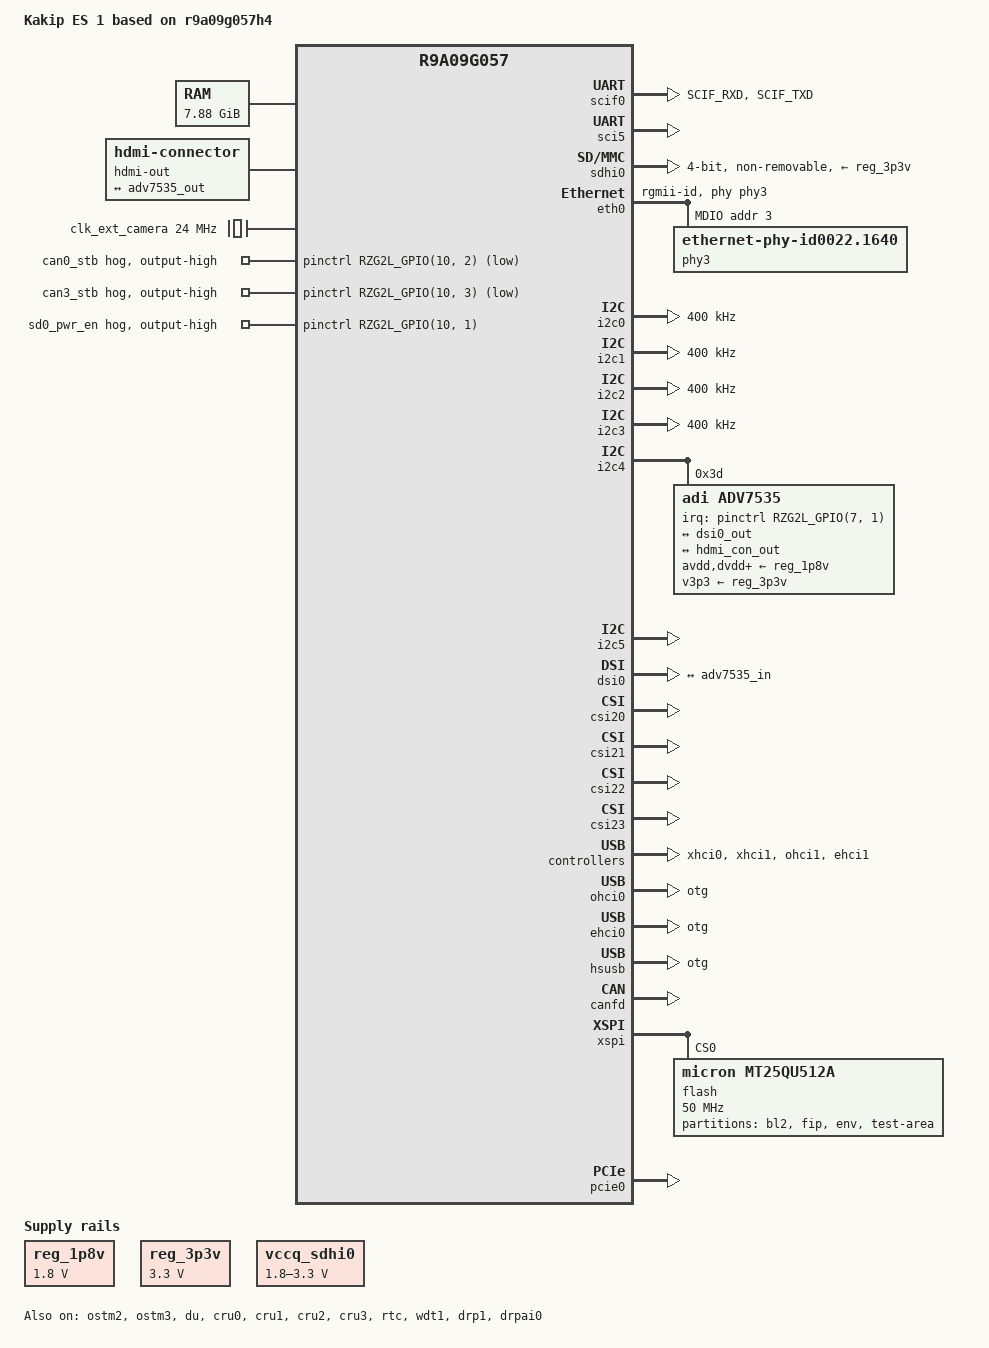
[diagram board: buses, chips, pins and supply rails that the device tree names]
// SPDX-License-Identifier: (GPL-2.0-only OR BSD-2-Clause)
/*
 * Device Tree Source for the Kakip ES 1 board
 *
 * Copyright (C) 2024 AMATAMA Co.
 */

/dts-v1/;
#include "r9a09g057.dtsi"
#include "r9a09g057h4-evk-multi-os.dtsi"
#include <dt-bindings/pinctrl/rzg2l-pinctrl.h>
#include <dt-bindings/gpio/gpio.h>

/ {
	model = "Kakip ES 1 based on r9a09g057h4";
	compatible = "renesas,r9a09g057h4-evk-ver1", "renesas,r9a09g057h4", "renesas,r9a09g057";

	aliases {
		serial0 = &scif0;
		serial2 = &sci5;
		mmc0 = &sdhi0;
		ethernet0 = &eth0;
		ethernet1 = &eth1;
	};

	chosen {
		bootargs = "ignore_loglevel";
		stdout-path = "serial0:115200n8";
	};

	ddr0: memory@48000000 {
		device_type = "memory";
		/* first 128MB is reserved for secure area. */
		reg = <0x0 0x48000000 0x1 0xF8000000>;
	};

	pwm0_gpio: pwm0-gpio {
		compatible = "pwm-gpio";
		gpios = <&pinctrl RZG2L_GPIO(10, 4) GPIO_ACTIVE_HIGH>;
		#pwm-cells = <3>;
		status = "disabled";
	};

	pwm1_gpio: pwm1-gpio {
		compatible = "pwm-gpio";
		gpios = <&pinctrl RZG2L_GPIO(10, 5) GPIO_ACTIVE_HIGH>;
		#pwm-cells = <3>;
		status = "disabled";
	};

	reserved-memory {
		#address-cells = <2>;
		#size-cells = <2>;
		ranges;

		global_cma: linux,cma@58000000 {
			compatible = "shared-dma-pool";
			linux,cma-default;
			reusable;
			reg = <0x0 0x58000000 0x0 0x10000000>;
		};

		mmp_reserved: linux,multimedia {
			compatible = "shared-dma-pool";
			reusable;
			reg = <0x00000000 0x68000000 0x0 0x20000000>;
		};

		isp: ISP@90000000 {
			compatible = "shared-dma-pool";
			reusable;
			reg = <0x0 0x90000000 0x0 0x18000000>;
		};

		image_buf0: image_buf@B0000000 {
			compatible = "shared-dma-pool";
			reusable;
			reg = <0x0 0xB0000000 0x0 0x4000000>;
			label = "image_buf0";
		};

		opencva_reserved: OpenCVA@C0000000 {
			reusable;
			reg = <0x0 0xC0000000 0x0 0x7D00000>;
		};

		drp_codec: DRP-Codec@C7D00000 {
			reusable;
			reg = <0x0 0xC7D00000 0x0 0x300000>;
		};

		drp_reserved: DRP-AI@D0000000 {
			reusable;
			reg = <0x0 0xD0000000 0x0 0x20000000>;
		};
	};

	mmngr {
		compatible = "renesas,mmngr";
		memory-region = <&mmp_reserved>;
	};

	mmngrbuf {
		compatible = "renesas,mmngrbuf";
	};

	vspm_if {
		compatible = "renesas,vspm_if";
	};

	reg_1p8v: regulator0 {
		compatible = "regulator-fixed";

		regulator-name = "fixed-1.8V";
		regulator-min-microvolt = <1800000>;
		regulator-max-microvolt = <1800000>;
		regulator-boot-on;
		regulator-always-on;
	};

	reg_3p3v: regulator1 {
		compatible = "regulator-fixed";

		regulator-name = "fixed-3.3V";
		regulator-min-microvolt = <3300000>;
		regulator-max-microvolt = <3300000>;
		regulator-boot-on;
		regulator-always-on;
	};

	vccq_sdhi0: regulator-vccq-sdhi0 {
		compatible = "regulator-gpio";

		regulator-name = "SDHI0 VccQ";
		regulator-min-microvolt = <1800000>;
		regulator-max-microvolt = <3300000>;

		gpios = <&pinctrl RZG2L_GPIO(10, 0) GPIO_ACTIVE_HIGH>;

		gpios-states = <0>;
		states = <3300000 0 1800000 1>;
	};

	hdmi-out {
		compatible = "hdmi-connector";
		type = "d";

		port {
			hdmi_con_out: endpoint {
				remote-endpoint = <&adv7535_out>;
			};
		};
	};

	clk_ext_camera: clk_ext_camera {
		compatible = "fixed-clock";
		#clock-cells = <0>;
		clock-frequency = <24000000>;
	};

	x1_clk: x1-clock {
		compatible = "fixed-clock";
		#clock-cells = <0>;
		clock-frequency = <24000000>;
	};

    udmabuf@0 {
        compatible = "ikwzm,u-dma-buf";
        device-name = "udmabuf0";
        minor-number = <0>;
        size = <0x4000000>; // 64MiB
        dma-coherent;
        memory-region = <&image_buf0>;
    };
};

&pinctrl {
	gpio-line-names = \
	"", "", "", "","", "", "", "", \
	"", "", "", "","", "", "", "", \
	"", "", "", "","", "", "", "", \
	"", "", "", "","", "", "", "", \
	"", "", "", "","", "", "", "", \
	"", "", "", "","", "", "", "", \
	"", "", "", "","", "", "", "", \
	"", "GPIO4", "GPIO14", "GPIO15","GPIO5", "", "GPIO2", "GPIO3", \
	"", "", "GPIO16", "GPIO17","GPIO0", "GPIO1", "", "", \
	"GPIO10", "GPIO9", "GPIO11", "GPIO8","GPIO7", "GPIO18", "GPIO19", "GPIO21", \
	"", "", "", "","GPIO12", "GPIO13", "GPIO20", "GPIO6", \
	"GPIO22", "GPIO24", "GPIO25", "GPIO26","GPIO27", "GPIO23", "", "";

	can0_pins: can0 {
		pinmux = <RZG2L_PORT_PINMUX(8, 0, 5)>, /* TX */
			 <RZG2L_PORT_PINMUX(8, 1, 5)>; /* RX */
	};

	can0_stb {
		gpio-hog;
		gpios = <RZG2L_GPIO(10, 2) GPIO_ACTIVE_LOW>;
		output-high;
		line-name = "can0_stb";
	};

	can3_pins: can3 {
		pinmux = <RZG2L_PORT_PINMUX(8, 6, 5)>, /* TX */
			 <RZG2L_PORT_PINMUX(8, 7, 5)>; /* RX */
	};

	can3_stb {
		gpio-hog;
		gpios = <RZG2L_GPIO(10, 3) GPIO_ACTIVE_LOW>;
		output-high;
		line-name = "can3_stb";
	};

	scif0_pins: scif0 {
		pins =  "SCIF_RXD", "SCIF_TXD";
	};

	sci5_pins: sci5 {
		pinmux = <RZG2L_PORT_PINMUX(7, 2, 1)>, /* SCI5_TXD_MOSI_SDA */
			 <RZG2L_PORT_PINMUX(7, 3, 1)>; /* SCI5_RXD_MISO_SCL */
		bias-pull-up;
	};

	sd0_pwr_en {
		gpio-hog;
		gpios = <RZG2L_GPIO(10, 1) GPIO_ACTIVE_HIGH>;
		output-high;
		line-name = "sd0_pwr_en";
	};

	i2c0_pins: i2c0 {
		pinmux = <RZG2L_PORT_PINMUX(3, 0, 1)>, /* I2C0_SDA */
			 <RZG2L_PORT_PINMUX(3, 1, 1)>; /* I2C0_SCL */
	};

	i2c1_pins: i2c1 {
		pinmux = <RZG2L_PORT_PINMUX(3, 2, 1)>, /* I2C1_SDA */
			 <RZG2L_PORT_PINMUX(3, 3, 1)>; /* I2C1_SCL */
	};

	i2c2_pins: i2c2 {
		pinmux = <RZG2L_PORT_PINMUX(3, 4, 1)>, /* I2C2_SDA */
			 <RZG2L_PORT_PINMUX(3, 5, 1)>; /* I2C2_SCL */
	};

	i2c3_pins: i2c3 {
		pinmux = <RZG2L_PORT_PINMUX(3, 6, 1)>, /* I2C3_SDA */
			 <RZG2L_PORT_PINMUX(3, 7, 1)>; /* I2C3_SCL */
	};

	i2c4_pins: i2c4 {
		pinmux = <RZG2L_PORT_PINMUX(6, 0, 4)>, /* I2C4_SDA */
			 <RZG2L_PORT_PINMUX(6, 1, 4)>; /* I2C4_SCL */
	};

	i2c5_pins: i2c5 {
		pinmux = <RZG2L_PORT_PINMUX(6, 2, 4)>, /* I2C5_SDA */
			 <RZG2L_PORT_PINMUX(6, 3, 4)>; /* I2C5_SCL */
	};

	i2c6_pins: i2c6 {
	};

	i2c7_pins: i2c7 {
	};

	i2c8_pins: i2c8 {
	};

	usb30_pins: usb30 {
		pinmux = <RZG2L_PORT_PINMUX(6, 4, 15)>; /* VBUS */
	};

	usb31_pins: usb31 {
		pinmux = <RZG2L_PORT_PINMUX(6, 6, 15)>; /* VBUS */
	};

	usb20_pins: usb20 {
	};

	usb21_pins: usb21 {
	};
};

&extal_clk {
	clock-frequency = <24000000>;
};

&ostm2 {
	status = "okay";
};

&ostm3 {
	status = "okay";
};

&scif0 {
	pinctrl-0 = <&scif0_pins>;
	pinctrl-names = "default";

	status = "okay";
};

&sci5 {
	pinctrl-0 = <&sci5_pins>;
	pinctrl-names = "default";
	status = "okay";
};

&sdhi0 {
	vmmc-supply = <&reg_3p3v>;
	vqmmc-supply = <&vccq_sdhi0>;
	non-removable;
	bus-width = <4>;
	status = "okay";
};

&eth0 {
	phy-handle = <&phy3>;
	phy-mode = "rgmii-id";
	status = "okay";

	mdio {
		#address-cells = <1>;
		#size-cells = <0>;
		phy3: ethernet-phy@3 {
			compatible = "ethernet-phy-id0022.1640",
				     "ethernet-phy-ieee802.3-c22";
			reg = <3>;
			rxc-skew-psec = <1400>;
			txc-skew-psec = <1400>;
			rxdv-skew-psec = <0>;
			txdv-skew-psec = <0>;
			rxd0-skew-psec = <0>;
			rxd1-skew-psec = <0>;
			rxd2-skew-psec = <0>;
			rxd3-skew-psec = <0>;
			txd0-skew-psec = <0>;
			txd1-skew-psec = <0>;
			txd2-skew-psec = <0>;
			txd3-skew-psec = <0>;
		};
	};
};

&eth1 {
	phy-handle = <&phy1>;
	phy-mode = "rgmii-id";
	status = "disabled";

	mdio {
		#address-cells = <1>;
		#size-cells = <0>;
		phy1: ethernet-phy@0 {
			compatible = "ethernet-phy-id0022.1640",
				     "ethernet-phy-ieee802.3-c22";
			reg = <0>;
			rxc-skew-psec = <1400>;
			txc-skew-psec = <1400>;
			rxdv-skew-psec = <0>;
			txdv-skew-psec = <0>;
			rxd0-skew-psec = <0>;
			rxd1-skew-psec = <0>;
			rxd2-skew-psec = <0>;
			rxd3-skew-psec = <0>;
			txd0-skew-psec = <0>;
			txd1-skew-psec = <0>;
			txd2-skew-psec = <0>;
			txd3-skew-psec = <0>;
		};
	};
};

&i2c0 {
	pinctrl-0 = <&i2c0_pins>;
	pinctrl-names = "default";

	status = "okay";
	clock-frequency = <400000>;
};

&i2c1 {
	pinctrl-0 = <&i2c1_pins>;
	pinctrl-names = "default";

	status = "okay";
	clock-frequency = <400000>;
};

&i2c2 {
	pinctrl-0 = <&i2c2_pins>;
	pinctrl-names = "default";

	status = "okay";
	clock-frequency = <400000>;
};

&i2c3 {
	pinctrl-0 = <&i2c3_pins>;
	pinctrl-names = "default";

	status = "okay";
	clock-frequency = <400000>;
};

&i2c4 {
	pinctrl-0 = <&i2c4_pins>;
	pinctrl-names = "default";

	status = "okay";

	adv7535: hdmi@4d {
		compatible = "adi,adv7535";
		reg = <0x3d>;

		avdd-supply = <&reg_1p8v>;
		dvdd-supply = <&reg_1p8v>;
		pvdd-supply = <&reg_1p8v>;
		a2vdd-supply = <&reg_1p8v>;
		v3p3-supply = <&reg_3p3v>;
		v1p2-supply = <&reg_1p8v>;

		interrupt-parent = <&pinctrl>;
		interrupts = <RZG2L_GPIO(7, 1) IRQ_TYPE_LEVEL_LOW>;

		adi,dsi-lanes = <4>;

		ports {
			#address-cells = <1>;
			#size-cells = <0>;

			port@0 {
				reg = <0>;
				adv7535_in: endpoint@0 {
					remote-endpoint = <&dsi0_out>;
				};
			};

			port@1 {
				reg = <1>;
				adv7535_out: endpoint@1 {
				remote-endpoint = <&hdmi_con_out>;
				};
			};
		};
	};
};

&i2c5 {
	pinctrl-0 = <&i2c5_pins>;
	pinctrl-names = "default";

	status = "okay";
};

&du {
	status = "okay";
};

&dsi0 {
	status = "okay";

	ports {
		port@1 {
			dsi0_out: endpoint {
				remote-endpoint = <&adv7535_in>;
				data-lanes = <1 2 3 4>;
			};
		};
	};
};

&cru0 {
	status = "okay";
};

&csi20 {
	status = "okay";
};

&cru1 {
	status = "okay";
};

&csi21 {
	status = "okay";
};

&cru2 {
	status = "okay";
};

&csi22 {
	status = "okay";
};

&cru3 {
	status = "okay";
};

&csi23 {
	status = "okay";
};

&xhci0 {
		pinctrl-0 = <&usb30_pins>;
		pinctrl-names = "default";

		memory-region = <&global_cma>;
		status = "okay";
};

&xhci1 {
		pinctrl-0 = <&usb31_pins>;
		pinctrl-names = "default";

		memory-region = <&global_cma>;
		status = "okay";
};

&usb20phyrst {
	status = "disable";
};

&usb21phyrst {
	status = "disable";
};

&ohci0 {
		memory-region = <&global_cma>;

		dr_mode = "otg";
		status = "okay";
};

&ohci1 {
		memory-region = <&global_cma>;

		status = "okay";
};

&ehci0 {
		memory-region = <&global_cma>;

		dr_mode = "otg";
		status = "okay";
};

&ehci1 {
		memory-region = <&global_cma>;

		status = "okay";
};

&hsusb {
		dr_mode = "otg";
		status = "okay";
};

&usb2_phy0 {
		pinctrl-0 = <&usb20_pins>;
		pinctrl-names = "default";

		status = "disable";
};

&usb2_phy1 {
		pinctrl-0 = <&usb21_pins>;
		pinctrl-names = "default";

		status = "disable";
};

&canfd {
	pinctrl-0 = <&can0_pins &can3_pins>;
	pinctrl-names = "default";
	status = "okay";

	channel0 {
		status = "okay";
	};

	channel3 {
		status = "okay";
	};
};

&rtc {
	status = "okay";
};

&wdt1 {
	status = "okay";
};

&drp1 {
    memory-region = <&codec0>;
    memory-oca-region = <&opencva0>;

    status = "okay";
};

&xspi {
	status = "okay";

	flash@0 {
		compatible = "micron,mt25qu512a", "jedec,spi-nor";
		reg = <0>;
		m25p,fast-read;
		spi-max-frequency = <50000000>;
		spi-tx-bus-width = <1>;
		spi-rx-bus-width = <1>;

		partitions {
			compatible = "fixed-partitions";
			#address-cells = <1>;
			#size-cells = <1>;

			partition@000000 {
				label = "bl2";
				reg = <0x00000000 0x0001D200>;
				read-only;
			};

			partition@01D200 {
				label = "fip";
				reg = <0x0001D200 0x001C2E00>;
				read-only;
			};

			partition@1E0000 {
				label = "env";
				reg = <0x001E0000 0x00020000>;
				read-only;
			};

			partition@200000 {
				label = "test-area";
				reg = <0x00200000 0x00E00000>;
			};
		};
	};
};

&pcie0 {
	/* Map all possible DDR as inbound ranges */
	dma-ranges = <0x42000000 0 0x40000000 0 0x40000000 0x4 0x00000000>;
	max-link-speed = <2>;

	status = "okay";
};

&drpai0 {
    memory-region = <&drp_reserved>;
    image-memory-region = <&image_buf0>;
    status = "okay";
};
